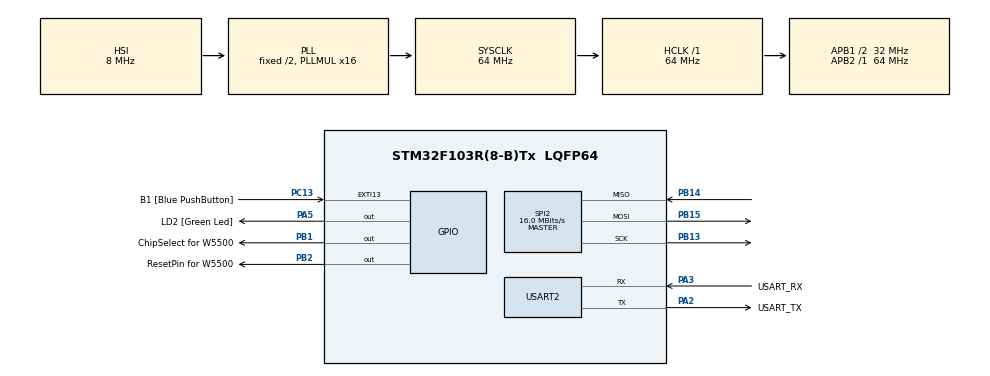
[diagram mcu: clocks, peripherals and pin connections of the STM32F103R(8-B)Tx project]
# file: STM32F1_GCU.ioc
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FREERTOS.Tasks01=aliveTask,24,256,StartaliveTask,Default,NULL,Dynamic,NULL,NULL;webSocketTask,17,256,StartwebSocketTask,Default,NULL,Dynamic,NULL,NULL
FREERTOS.configTOTAL_HEAP_SIZE=20480
FREERTOS.configUSE_NEWLIB_REENTRANT=1
Mcu.Family=STM32F1
Mcu.Name=STM32F103R(8-B)Tx
Mcu.Package=LQFP64
NVIC.EXTI15_10_IRQn=true\:5\:0\:false\:false\:true\:true\:true\:true\:true
NVIC.PriorityGroup=NVIC_PRIORITYGROUP_4
NVIC.TIM1_UP_IRQn=true\:15\:0\:false\:false\:true\:false\:false\:true\:true
NVIC.TimeBase=TIM1_UP_IRQn
NVIC.TimeBaseIP=TIM1
PA13.GPIO_Label=TMS
PA13.Mode=Serial_Wire
PA13.Signal=SYS_JTMS-SWDIO
PA14.GPIO_Label=TCK
PA14.Mode=Serial_Wire
PA14.Signal=SYS_JTCK-SWCLK
PA2.GPIO_Label=USART_TX
PA2.GPIO_Mode=GPIO_MODE_AF_PP
PA2.GPIO_PuPd=GPIO_NOPULL
PA2.GPIO_Speed=GPIO_SPEED_FREQ_LOW
PA2.Mode=Asynchronous
PA2.Signal=USART2_TX
PA3.GPIO_Label=USART_RX
PA3.GPIO_Mode=GPIO_MODE_AF_PP
PA3.GPIO_PuPd=GPIO_NOPULL
PA3.GPIO_Speed=GPIO_SPEED_FREQ_LOW
PA3.Mode=Asynchronous
PA3.Signal=USART2_RX
PA5.GPIO_Label=LD2 [Green Led]
PA5.GPIO_ModeDefaultOutputPP=GPIO_MODE_OUTPUT_PP
PA5.GPIO_PuPd=GPIO_NOPULL
PA5.GPIO_Speed=GPIO_SPEED_FREQ_LOW
PA5.Signal=GPIO_Output
PB1.GPIO_Label=ChipSelect for W5500
PB1.GPIO_Speed=GPIO_SPEED_FREQ_HIGH
PB1.Signal=GPIO_Output
PB13.Mode=Full_Duplex_Master
PB13.Signal=SPI2_SCK
PB14.Mode=Full_Duplex_Master
PB14.Signal=SPI2_MISO
PB15.Mode=Full_Duplex_Master
PB15.Signal=SPI2_MOSI
PB2.GPIO_Label=ResetPin for W5500
PB2.GPIO_Speed=GPIO_SPEED_FREQ_HIGH
PB2.Signal=GPIO_Output
PB3.GPIO_Label=SWO
PB3.Signal=SYS_JTDO-TRACESWO
PC13-TAMPER-RTC.GPIO_Label=B1 [Blue PushButton]
PC13-TAMPER-RTC.GPIO_PuPd=GPIO_NOPULL
PC13-TAMPER-RTC.Signal=GPXTI13
PC14-OSC32_IN.Mode=LSE-External-Oscillator
PC14-OSC32_IN.Signal=RCC_OSC32_IN
PC15-OSC32_OUT.Mode=LSE-External-Oscillator
PC15-OSC32_OUT.Signal=RCC_OSC32_OUT
PD0-OSC_IN.Mode=HSE-External-Oscillator
PD0-OSC_IN.Signal=RCC_OSC_IN
PD1-OSC_OUT.Mode=HSE-External-Oscillator
PD1-OSC_OUT.Signal=RCC_OSC_OUT
ProjectManager.HeapSize=0x200
ProjectManager.StackSize=0x400
ProjectManager.TargetToolchain=STM32CubeIDE
RCC.AHBFreq_Value=64000000
RCC.APB1CLKDivider=RCC_HCLK_DIV2
RCC.APB1Freq_Value=32000000
RCC.APB1TimFreq_Value=64000000
RCC.APB2Freq_Value=64000000
RCC.APB2TimFreq_Value=64000000
RCC.HCLKFreq_Value=64000000
RCC.PLLMUL=RCC_PLL_MUL16
RCC.RTCClockSelection=RCC_RTCCLKSOURCE_LSE
RCC.SYSCLKFreq_VALUE=64000000
RCC.SYSCLKSource=RCC_SYSCLKSOURCE_PLLCLK
RCC.USBFreq_Value=64000000
SPI2.CalculateBaudRate=16.0 MBits/s
SPI2.Direction=SPI_DIRECTION_2LINES
SPI2.Mode=SPI_MODE_MASTER
SPI2.VirtualType=VM_MASTER
USART2.VirtualMode=VM_ASYNC
USART2.WordLength=WORDLENGTH_8B
VP_FREERTOS_VS_CMSIS_V2.Mode=CMSIS_V2
VP_SYS_VS_tim1.Mode=TIM1
board=NUCLEO-F103RB

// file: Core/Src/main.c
/* USER CODE BEGIN Header */
/**
  ******************************************************************************
  * @file           : main.c
  * @brief          : Main program body
  ******************************************************************************
  * @attention
  *
  * Copyright (c) 2024 STMicroelectronics.
  * All rights reserved.
  *
  * This software is licensed under terms that can be found in the LICENSE file
  * in the root directory of this software component.
  * If no LICENSE file comes with this software, it is provided AS-IS.
  *
  ******************************************************************************
  */
/* USER CODE END Header */
#include "main.h"
#include "cmsis_os.h"

/* USER CODE BEGIN Includes */
#include "network.h"
#include "uart_redirect.h"
#include "wizchip_init.h"
#include "wizchip_conf.h"
#include <stdint.h>
#include <stdio.h>
#include <stdbool.h>
#include <string.h>
#include "socket.h"
#include "stdlib.h"
#include "portmacro.h"
#include "task.h"
/* USER CODE END Includes */

/* USER CODE BEGIN PD */

bool connect_to_backend = false;
bool socket_connected = false;

/* USER CODE END PD */

SPI_HandleTypeDef hspi2;

UART_HandleTypeDef huart2;

/* Definitions for aliveTask */
osThreadId_t aliveTaskHandle;
const osThreadAttr_t aliveTask_attributes = {
  .name = "aliveTask",
  .stack_size = 256 * 4,
  .priority = (osPriority_t) osPriorityNormal,
};
/* Definitions for webSocketTask */
osThreadId_t webSocketTaskHandle;
const osThreadAttr_t webSocketTask_attributes = {
  .name = "webSocketTask",
  .stack_size = 256 * 4,
  .priority = (osPriority_t) osPriorityBelowNormal1,
};

void SystemClock_Config(void);
static void MX_GPIO_Init(void);
static void MX_USART2_UART_Init(void);
static void MX_SPI2_Init(void);
void StartaliveTask(void *argument);
void StartwebSocketTask(void *argument);

int main(void)
{

  /* MCU Configuration--------------------------------------------------------*/

  /* Reset of all peripherals, Initializes the Flash interface and the Systick. */
  HAL_Init();

  /* Configure the system clock */
  SystemClock_Config();

  /* Initialize all configured peripherals */
  MX_GPIO_Init();
  MX_USART2_UART_Init();
  MX_SPI2_Init();
  /* USER CODE BEGIN 2 */
  printf("\t - W5x00 Project - \r\n");
  resetAssert();
  HAL_Delay(300);
  resetDeassert();
  HAL_Delay(300);

  initialize_network();
  /* USER CODE END 2 */

  /* Init scheduler */
  osKernelInitialize();

  /* Create the thread(s) */
  /* creation of aliveTask */
  aliveTaskHandle = osThreadNew(StartaliveTask, NULL, &aliveTask_attributes);

  /* creation of webSocketTask */
  webSocketTaskHandle = osThreadNew(StartwebSocketTask, NULL, &webSocketTask_attributes);

  /* USER CODE BEGIN RTOS_THREADS */
  /* add threads, ... */
  if (aliveTaskHandle == NULL) {
      printf("Failed to create aliveTask.\r\n");
  } else {
      printf("aliveTask created successfully.\r\n");
  }

  /* creation of webSocketTask */
  if (webSocketTaskHandle == NULL) {
      printf("Failed to create webSocketTask.\r\n");
  } else {
      printf("webSocketTask created successfully.\r\n");
  }
  /* USER CODE END RTOS_THREADS */

  /* Start scheduler */
  osKernelStart();

  /* We should never get here as control is now taken by the scheduler */

  /* Infinite loop */
  /* USER CODE BEGIN WHILE */
  while (1)
  {

    // Network connection handling code
    // Example: handling incoming connections or performing periodic tasks

    /* USER CODE END WHILE */

  }
}

void SystemClock_Config(void)
{
  RCC_OscInitTypeDef RCC_OscInitStruct = {0};
  RCC_ClkInitTypeDef RCC_ClkInitStruct = {0};

  /** Initializes the RCC Oscillators according to the specified parameters
  * in the RCC_OscInitTypeDef structure.
  */
  RCC_OscInitStruct.OscillatorType = RCC_OSCILLATORTYPE_HSI;
  RCC_OscInitStruct.HSIState = RCC_HSI_ON;
  RCC_OscInitStruct.HSICalibrationValue = RCC_HSICALIBRATION_DEFAULT;
  RCC_OscInitStruct.PLL.PLLState = RCC_PLL_ON;
  RCC_OscInitStruct.PLL.PLLSource = RCC_PLLSOURCE_HSI_DIV2;
  RCC_OscInitStruct.PLL.PLLMUL = RCC_PLL_MUL16;
  if (HAL_RCC_OscConfig(&RCC_OscInitStruct) != HAL_OK)
  {
    Error_Handler();
  }

  /** Initializes the CPU, AHB and APB buses clocks
  */
  RCC_ClkInitStruct.ClockType = RCC_CLOCKTYPE_HCLK|RCC_CLOCKTYPE_SYSCLK
                              |RCC_CLOCKTYPE_PCLK1|RCC_CLOCKTYPE_PCLK2;
  RCC_ClkInitStruct.SYSCLKSource = RCC_SYSCLKSOURCE_PLLCLK;
  RCC_ClkInitStruct.AHBCLKDivider = RCC_SYSCLK_DIV1;
  RCC_ClkInitStruct.APB1CLKDivider = RCC_HCLK_DIV2;
  RCC_ClkInitStruct.APB2CLKDivider = RCC_HCLK_DIV1;

  if (HAL_RCC_ClockConfig(&RCC_ClkInitStruct, FLASH_LATENCY_2) != HAL_OK)
  {
    Error_Handler();
  }
}

static void MX_SPI2_Init(void)
{

  /* SPI2 parameter configuration*/
  hspi2.Instance = SPI2;
  hspi2.Init.Mode = SPI_MODE_MASTER;
  hspi2.Init.Direction = SPI_DIRECTION_2LINES;
  hspi2.Init.DataSize = SPI_DATASIZE_8BIT;
  hspi2.Init.CLKPolarity = SPI_POLARITY_LOW;
  hspi2.Init.CLKPhase = SPI_PHASE_1EDGE;
  hspi2.Init.NSS = SPI_NSS_SOFT;
  hspi2.Init.BaudRatePrescaler = SPI_BAUDRATEPRESCALER_2;
  hspi2.Init.FirstBit = SPI_FIRSTBIT_MSB;
  hspi2.Init.TIMode = SPI_TIMODE_DISABLE;
  hspi2.Init.CRCCalculation = SPI_CRCCALCULATION_DISABLE;
  hspi2.Init.CRCPolynomial = 10;
  if (HAL_SPI_Init(&hspi2) != HAL_OK)
  {
    Error_Handler();
  }

}

static void MX_USART2_UART_Init(void)
{

  huart2.Instance = USART2;
  huart2.Init.BaudRate = 115200;
  huart2.Init.WordLength = UART_WORDLENGTH_8B;
  huart2.Init.StopBits = UART_STOPBITS_1;
  huart2.Init.Parity = UART_PARITY_NONE;
  huart2.Init.Mode = UART_MODE_TX_RX;
  huart2.Init.HwFlowCtl = UART_HWCONTROL_NONE;
  huart2.Init.OverSampling = UART_OVERSAMPLING_16;
  if (HAL_UART_Init(&huart2) != HAL_OK)
  {
    Error_Handler();
  }

}

static void MX_GPIO_Init(void)
{
  GPIO_InitTypeDef GPIO_InitStruct = {0};

  /* GPIO Ports Clock Enable */
  __HAL_RCC_GPIOC_CLK_ENABLE();
  __HAL_RCC_GPIOD_CLK_ENABLE();
  __HAL_RCC_GPIOA_CLK_ENABLE();
  __HAL_RCC_GPIOB_CLK_ENABLE();

  /*Configure GPIO pin Output Level */
  HAL_GPIO_WritePin(LD2_GPIO_Port, LD2_Pin, GPIO_PIN_RESET);

  /*Configure GPIO pin Output Level */
  HAL_GPIO_WritePin(GPIOB, ChipSelect_for_W5500_Pin|ResetPin_for_W5500_Pin, GPIO_PIN_RESET);

  /*Configure GPIO pin : B1_Pin */
  GPIO_InitStruct.Pin = B1_Pin;
  GPIO_InitStruct.Mode = GPIO_MODE_IT_RISING;
  GPIO_InitStruct.Pull = GPIO_NOPULL;
  HAL_GPIO_Init(B1_GPIO_Port, &GPIO_InitStruct);

  /*Configure GPIO pin : LD2_Pin */
  GPIO_InitStruct.Pin = LD2_Pin;
  GPIO_InitStruct.Mode = GPIO_MODE_OUTPUT_PP;
  GPIO_InitStruct.Pull = GPIO_NOPULL;
  GPIO_InitStruct.Speed = GPIO_SPEED_FREQ_LOW;
  HAL_GPIO_Init(LD2_GPIO_Port, &GPIO_InitStruct);

  /*Configure GPIO pins : ChipSelect_for_W5500_Pin ResetPin_for_W5500_Pin */
  GPIO_InitStruct.Pin = ChipSelect_for_W5500_Pin|ResetPin_for_W5500_Pin;
  GPIO_InitStruct.Mode = GPIO_MODE_OUTPUT_PP;
  GPIO_InitStruct.Pull = GPIO_NOPULL;
  GPIO_InitStruct.Speed = GPIO_SPEED_FREQ_HIGH;
  HAL_GPIO_Init(GPIOB, &GPIO_InitStruct);

  /* EXTI interrupt init*/
  HAL_NVIC_SetPriority(EXTI15_10_IRQn, 5, 0);
  HAL_NVIC_EnableIRQ(EXTI15_10_IRQn);

}

/* USER CODE BEGIN 4 */
void apply_mask(uint8_t *data, size_t len, const uint8_t *mask_key) {
    for (size_t i = 0; i < len; i++) {
        data[i] ^= mask_key[i % WEBSOCKET_MASK_KEY_SIZE];
    }
}

void send_websocket_message(uint8_t socket, const char *message) {
	printf("send_websocket_message\r\n");
    size_t msg_len = strlen(message);
    uint8_t mask_key[WEBSOCKET_MASK_KEY_SIZE];
    for (int i = 0; i < WEBSOCKET_MASK_KEY_SIZE; i++) {
        mask_key[i] = rand() % 256;
    }

    uint8_t masked_message[msg_len];
    memcpy(masked_message, message, msg_len);
    apply_mask(masked_message, msg_len, mask_key);

    uint8_t frame[2 + WEBSOCKET_MASK_KEY_SIZE + msg_len];
    frame[0] = 0x81; // FIN bit set, opcode for text frame
    frame[1] = 0x80 | msg_len; // MASK bit set, payload length
    memcpy(frame + 2, mask_key, WEBSOCKET_MASK_KEY_SIZE);
    memcpy(frame + 2 + WEBSOCKET_MASK_KEY_SIZE, masked_message, msg_len);

    send(socket, frame, sizeof(frame));
}

/* USER CODE END 4 */

void StartaliveTask(void *argument)
{
  /* USER CODE BEGIN 5 */

  /* Infinite loop */
  for(;;)
  {
    printf("ToggleLED\r\n");
	HAL_GPIO_TogglePin(LD2_GPIO_Port, LD2_Pin);

	//osDelay(999); // Warte 1 Sekunde
	vTaskDelay(1000 / portTICK_PERIOD_MS);

  }
  /* USER CODE END 5 */
}

void StartwebSocketTask(void *argument)
{
  /* USER CODE BEGIN StartwebSocketTask */
	printf("StartwebSocketTask\r\n");
	// otherwise the task freeze
    uint8_t *buf = (uint8_t *)malloc(DATA_BUF_SIZE);
    if (buf == NULL) {
        printf("Failed to allocate memory for buffer\n");
        return;
    }

  uint8_t destip[4] = {192, 168, 178, 25}; // Beispiel-IP-Adresse
  uint16_t destport = 8085; // port

  //uint32_t last_ping_time = 0;
  static uint16_t any_port = 50000;
  uint8_t currentSocketStatus = 0;

  int websocket_upgraded = 0;

  /* Infinite loop */
  for(;;)
  {

      currentSocketStatus = getSn_SR(SOCK_DHCP);
	  //printf("Status of Socket %d is: %d\r\n", SOCK_DHCP, currentSocketStatus);

	  switch (currentSocketStatus) {
	      case SOCK_CLOSED:
	         printf("%d:Socket closed, reopening...\r\n", SOCK_DHCP);

	         if((socket(SOCK_DHCP, Sn_MR_TCP, any_port++, 0x00)) != SOCK_DHCP)
	         {
	            if(any_port == 0xffff) any_port = 50000;
	         }
	         printf("%d:Socket opened\r\n", SOCK_DHCP);
	         break;

	      case SOCK_INIT:
	          printf("Socket is initialized.\r\n");

	          printf("%d:Try to connect to the %d.%d.%d.%d : %d\r\n", SOCK_DHCP, destip[0], destip[1], destip[2], destip[3], destport);

	          if(connect(SOCK_DHCP, destip, destport) != SOCK_OK){
	        	  printf("PROBLEM\r\n");
	          }

	          break;
	      case SOCK_LISTEN:
	          printf("Socket is in listen state.\n");
	          break;

	      case SOCK_ESTABLISHED:
	          printf("Socket is established.\r\n");

	          if (getSn_IR(SOCK_DHCP) & Sn_IR_CON) {
	              printf("%d: Connected to - %d.%d.%d.%d : %d\r\n", SOCK_DHCP, destip[0], destip[1], destip[2], destip[3], destport);
	              setSn_IR(SOCK_DHCP, Sn_IR_CON);
//	              // Upgrade auf WebSocket
//	              //upgrade_to_websocket(SOCK_DHCP);
	          }

              if (!websocket_upgraded) {
                  if (upgrade_to_websocket(SOCK_DHCP) == 0) {
                      printf("WebSocket upgrade successful.\n");
                      websocket_upgraded = 1; // Upgrade als durchgeführt markieren
                  } else {
                      printf("WebSocket upgrade failed.\n");
                      close(SOCK_DHCP);
                      free(buf);
                  }
              }

//              // Sende Ping-Nachricht
//              uint32_t current_time = osKernelSysTick();
//              if (current_time - last_ping_time >= PING_INTERVAL) {
//                  send_websocket_message(SOCK_DHCP, "123");
//                  last_ping_time = current_time;
//                  printf("PingTime: %lu\r\n", last_ping_time);
//              }

              // Empfang von WebSocket-Daten
              int32_t ret;
              uint16_t size = 0;

              if ((size = getSn_RX_RSR(SOCK_DHCP)) > 0) {
                  if (size > DATA_BUF_SIZE) size = DATA_BUF_SIZE;

                  ret = recv(SOCK_DHCP, buf, size);
                  if (ret <= 0) {
                      printf("Error receiving data. Socket closed.\n");
                      close(SOCK_DHCP);
                      free(buf);
                  }
                  size = (uint16_t) ret;

                  buf[size] = '\0'; // Nullterminierung
                  printf("Empfangene Nachricht: %s\n", buf);
              }

	          break;
	      case SOCK_CLOSE_WAIT:
	          printf("Socket is closing.\n");
	          break;
	      case SOCK_UDP:
	          printf("Socket is in UDP mode.\n");
	          break;
	      case SOCK_IPRAW:
	          printf("Socket is in IP RAW mode.\n");
	          break;
	      case SOCK_MACRAW:
	          printf("Socket is in MAC RAW mode.\n");
	          break;
	      default:
	          printf("Unknown socket status: %d\n", currentSocketStatus);
	          break;
	  }

	  vTaskDelay(1000 / portTICK_PERIOD_MS); // Vermeide eine enge Schleife

  }

//    int32_t result = loopback_tcpc(SOCK_DHCP, buf, destip, destport);
//
//    // Bearbeite das Ergebnis
//    if (result < 0) {
//        printf("Loopback-TCP-Client-Operation fehlgeschlagen mit Fehlercode: %ld\r\n", (long)result);
//        // Delay to avoid tight loop
//        osDelay(1000); // Warte 1 Sekunde vor dem erneuten Versuch
//    }

//    osDelay(100); // Vermeide eine enge Schleife

  /* USER CODE END StartwebSocketTask */
}

void HAL_TIM_PeriodElapsedCallback(TIM_HandleTypeDef *htim)
{
  if (htim->Instance == TIM1) {
    HAL_IncTick();
  }
}

void Error_Handler(void)
{
  __disable_irq();
  while (1)
  {
  }
}
